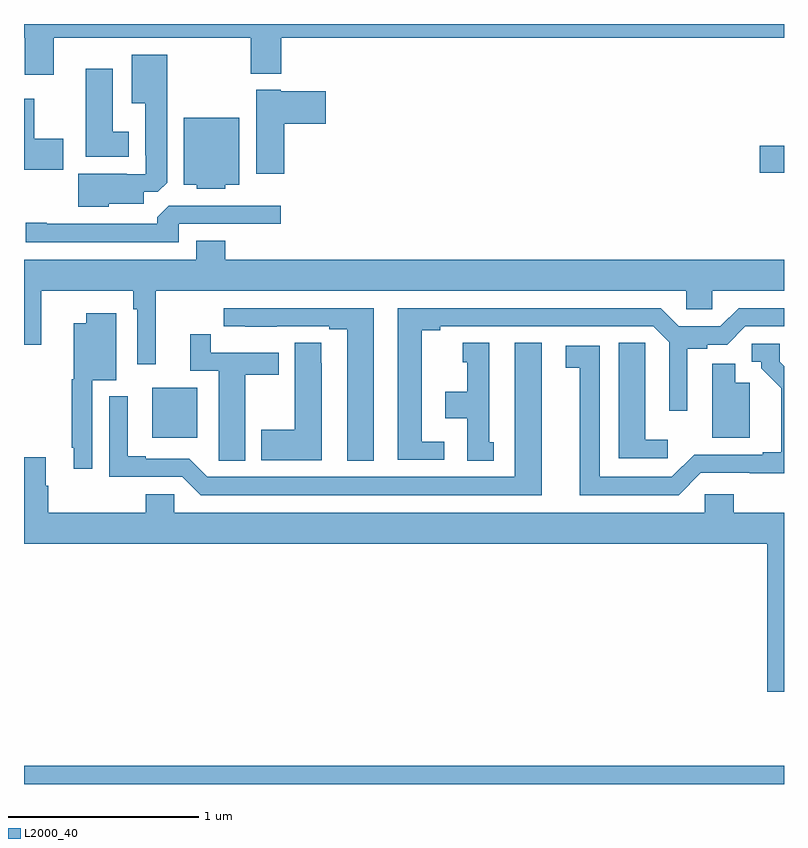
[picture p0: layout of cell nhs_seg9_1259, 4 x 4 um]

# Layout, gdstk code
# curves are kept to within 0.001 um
import gdstk
lib = gdstk.Library(unit=1e-6, precision=1e-09)
def R(c, l, rs):  # rectangles x0, y0, x1, y1
    for r in rs: c.add(gdstk.rectangle(r[:2], r[2:], *l))
def P(c, l, *ps):  # polygons
    for p in ps: c.add(gdstk.Polygon(p, *l))
L2000_40 = (2000, 40)

nhs_seg9_1259 = lib.new_cell('nhs_seg9_1259')
R(nhs_seg9_1259, L2000_40, [(181,1184.5,185,1184.596), (181.676,1186.322,181.912,1186.585), (184.872,1187.716,185,1187.858)])
P(nhs_seg9_1259, L2000_40, [(181.156,1188.428),(182.194,1188.428),(182.194,1188.239),(182.354,1188.239),(182.354,1188.428),(185,1188.428),(185,1188.5),(181,1188.5),(181,1188.428),(181.004,1188.428),(181.004,1188.234),(181.156,1188.234)],
  [(181.446,1187.555),(181.63,1187.555),(181.63,1187.616),(181.704,1187.616),(181.753,1187.665),(181.753,1188.337),(181.568,1188.337),(181.568,1188.083),(181.637,1188.083),(181.637,1187.809),(181.641,1187.809),(181.641,1187.709),(181.541,1187.709),(181.541,1187.713),(181.286,1187.713),(181.286,1187.537),(181.446,1187.537)],
  [(181.552,1187.932),(181.468,1187.932),(181.468,1188.265),(181.325,1188.265),(181.325,1187.801),(181.552,1187.801)],
  [(182.369,1187.975),(182.587,1187.975),(182.587,1188.145),(182.352,1188.145),(182.352,1188.154),(182.222,1188.154),(182.222,1187.712),(182.369,1187.712)],
  [(181.207,1187.895),(181.054,1187.895),(181.054,1188.106),(181,1188.106),(181,1187.732),(181.207,1187.732)],
  [(182.058,1187.654),(182.134,1187.654),(182.134,1188.007),(181.841,1188.007),(181.841,1187.654),(181.908,1187.654),(181.908,1187.633),(182.058,1187.633)],
  [(181.815,1187.448),(182.35,1187.448),(182.35,1187.544),(181.761,1187.544),(181.7,1187.482),(181.7,1187.448),(181.12,1187.448),(181.12,1187.453),(181.008,1187.453),(181.008,1187.352),(181.815,1187.352)],
  [(181.694,1187.096),(184.485,1187.096),(184.485,1186.998),(184.623,1186.998),(184.623,1187.096),(185,1187.096),(185,1187.26),(182.06,1187.26),(182.06,1187.359),(181.907,1187.359),(181.907,1187.26),(181,1187.26),(181,1186.812),(181.092,1186.812),(181.092,1187.096),(181.576,1187.096),(181.576,1187),(181.596,1187),(181.596,1186.71),(181.694,1186.71)],
  [(182.842,1187.004),(182.052,1187.004),(182.052,1186.908),(182.164,1186.908),(182.164,1186.907),(182.33,1186.907),(182.33,1186.908),(182.606,1186.908),(182.606,1186.893),(182.702,1186.893),(182.702,1186.201),(182.842,1186.201)],
  [(183.211,1186.302),(183.094,1186.302),(183.094,1186.888),(183.19,1186.888),(183.19,1186.908),(184.311,1186.908),(184.395,1186.824),(184.395,1186.464),(184.492,1186.464),(184.492,1186.792),(184.596,1186.792),(184.596,1186.812),(184.701,1186.812),(184.797,1186.908),(185,1186.908),(185,1187.004),(184.761,1187.004),(184.665,1186.908),(184.447,1186.908),(184.351,1187.004),(182.966,1187.004),(182.966,1186.206),(183.211,1186.206)],
  [(181.359,1186.625),(181.486,1186.625),(181.486,1186.978),(181.328,1186.978),(181.328,1186.924),(181.262,1186.924),(181.262,1186.629),(181.251,1186.629),(181.251,1186.27),(181.262,1186.27),(181.262,1186.158),(181.359,1186.158)],
  [(182.164,1186.654),(182.341,1186.654),(182.341,1186.77),(181.982,1186.77),(181.982,1186.867),(181.874,1186.867),(181.874,1186.674),(182.024,1186.674),(182.024,1186.312),(182.025,1186.312),(182.025,1186.201),(182.164,1186.201)],
  [(184.387,1186.312),(184.27,1186.312),(184.27,1186.715),(184.269,1186.715),(184.269,1186.823),(184.13,1186.823),(184.13,1186.215),(184.387,1186.215)],
  [(182.566,1186.715),(182.565,1186.715),(182.565,1186.823),(182.426,1186.823),(182.426,1186.365),(182.249,1186.365),(182.249,1186.205),(182.566,1186.205)],
  [(183.472,1186.299),(183.448,1186.299),(183.448,1186.822),(183.308,1186.822),(183.308,1186.719),(183.332,1186.719),(183.332,1186.564),(183.218,1186.564),(183.218,1186.424),(183.332,1186.424),(183.332,1186.201),(183.472,1186.201)],
  [(183.724,1186.822),(183.584,1186.822),(183.584,1186.116),(181.965,1186.116),(181.869,1186.212),(181.642,1186.212),(181.642,1186.225),(181.546,1186.225),(181.546,1186.54),(181.449,1186.54),(181.449,1186.116),(181.833,1186.116),(181.929,1186.02),(183.724,1186.02)],
  [(184.563,1186.137),(185,1186.136),(185,1186.699),(184.977,1186.722),(184.977,1186.818),(184.83,1186.818),(184.83,1186.722),(184.88,1186.722),(184.88,1186.687),(184.985,1186.582),(184.985,1186.246),(184.889,1186.246),(184.889,1186.233),(184.527,1186.233),(184.41,1186.116),(184.03,1186.116),(184.03,1186.806),(183.852,1186.806),(183.852,1186.69),(183.926,1186.69),(183.926,1186.02),(184.446,1186.02)],
  [(184.819,1186.612),(184.744,1186.612),(184.744,1186.711),(184.622,1186.711),(184.622,1186.322),(184.819,1186.322)],
  [(185,1185.928),(184.736,1185.928),(184.736,1186.026),(184.584,1186.026),(184.584,1185.928),(181.791,1185.928),(181.791,1186.026),(181.64,1186.026),(181.64,1185.928),(181.127,1185.928),(181.127,1186.07),(181.114,1186.07),(181.114,1186.219),(181,1186.219),(181,1185.764),(184.913,1185.764),(184.913,1184.985),(185,1184.985)])

lib.write_gds('nhs_seg9_1259.gds')
